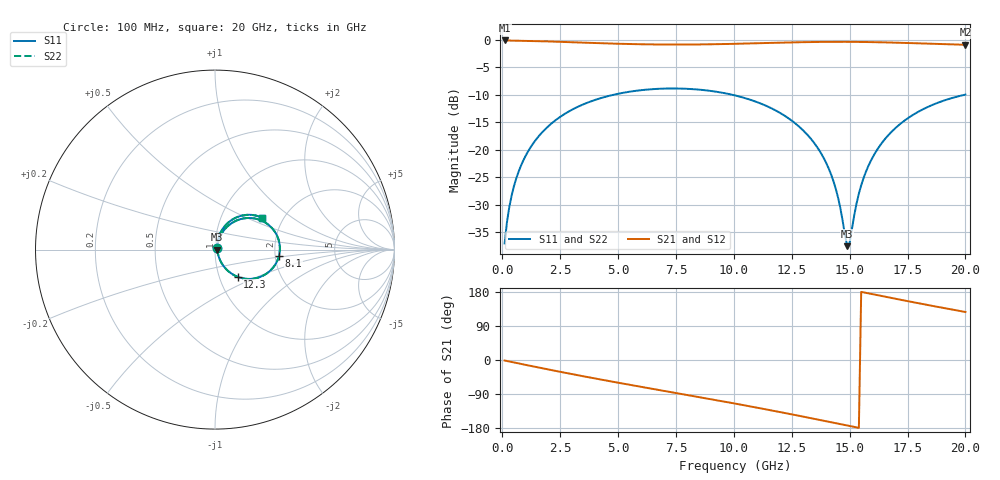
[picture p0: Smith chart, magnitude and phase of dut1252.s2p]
! Touchstone file exported from HFSS 2026.1.0
!  File:  C:/ffzhzh/LocalFiles/Ansys_Project_Files/temp_train_TSV_RDL_1252_1783325699_38704.aedt
!  Generated:  04:28:44 PM Jul  6, 2026
!  Design:  TSV_RDL
!  Project:  temp_train_TSV_RDL_1252_1783325699_38704
! Variables:
!  h_bsmrdl = 4.05um
!  h_ox = 20um
!  h_rdl = 5um
!  h_sub = 91.6um
!  h_tmrdl = 5.99um
!  h_tsv = 91.6um
!  h_via = 3um
!  l_bsmrdl = 522.69um
!  l_sub = 3785.73um
!  l_tmrdl = 413.27um
!  m_sub = 200um
!  pitch = 49.45um
!  r_tsv = 12.57um
!  s_tmrdl = 10um
!  w_bsmrdl = 28.66um
!  w_sub = 500um
!  w_tmrdl = 26.2um
!  x_tsv_center1 = 426.37um
!  x_tsv_center2 = 977.72um
!  x_tsv_center3 = 1417.19um
!  x_tsv_center4 = 1968.54um
!  x_tsv_center5 = 2408.01um
!  x_tsv_center6 = 2959.36um
# GHz S MA R 50.000000
! Terminal data exported
! Port[1] = TM_RDL1_1_T1
! Port[2] = TM_RDL5_1_T1
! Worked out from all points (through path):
!   200 points, 100 MHz to 20 GHz, reference 50 ohm
!   highest |S21| = -0.09 dB at 100 MHz (marker M1); lowest = -0.9 dB at 20 GHz (marker M2)
!   group delay of S21, straight-line fit = 32.1 ps
!   lowest |S11| = -37.6 dB at 14.9 GHz (marker M3), VSWR 1.03, Z = 51.3 - j0.122 ohm
!   |S11| at or under -10 dB: start of sweep to 4.788 GHz; 9.946 GHz to 19.95 GHz (10.01 GHz wide, 67 % of centre)
!   |S22| runs from -37.7 to -8.8 dB; largest |S21 - S12| = 3.3e-14
!   S11 on the Smith chart (normalised r, x): 100 MHz: 1.02, +0.02; 8.1 GHz: 2.10, -0.17; 12.3 GHz: 1.22, -0.39; 20 GHz: 1.57, +0.62
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0.1  0.01399 43.5  0.99 -1.3  0.99 -1.3  0.01399 43.5
! Gamma 0 0 0 0
! Port Impedance 50 0 50 0
0.3  0.02982 63.7  0.9883 -3.9  0.9883 -3.9  0.02982 63.7
0.5  0.04625 68.3  0.9868 -6.4  0.9868 -6.4  0.04625 68.3
1.1  0.09547 67.6  0.9815 -14.0  0.9815 -14.0  0.09547 67.6
2.1  0.1718 58.2  0.9686 -26.3  0.9686 -26.3  0.1718 58.2
3.5  0.2592 42.8  0.9459 -43.0  0.9459 -43.0  0.2592 42.8
5.1  0.3266 25.5  0.9228 -61.0  0.9228 -61.0  0.3266 25.5
6.8  0.3594 7.7  0.9094 -79.5  0.9094 -79.5  0.3594 7.7
8.1  0.3579 -5.8  0.909 -93.5  0.909 -93.5  0.3579 -5.8
10.1  0.3107 -26.7  0.9233 -115.5  0.9233 -115.5  0.3107 -26.8
12.3  0.1973 -50.2  0.9487 -141.0  0.9487 -141.0  0.1973 -50.3
13.4  0.1204 -60.8  0.9583 -154.3  0.9583 -154.3  0.1204 -60.9
14.3  0.05184 -63.3  0.962 -165.4  0.962 -165.4  0.05183 -63.5
14.6  0.02936 -55.1  0.9622 -169.2  0.9622 -169.2  0.0293 -55.5
14.9  0.01322 -5.1  0.9619 -172.9  0.9619 -172.9  0.01303 -5.5
15  0.01421 27.4  0.9617 -174.1  0.9617 -174.1  0.01401 27.5
15.3  0.0324 66.4  0.9606 -177.8  0.9606 -177.8  0.03228 66.7
15.6  0.05502 72.8  0.959 178.5  0.959 178.5  0.05494 73.0
16.1  0.09329 72.4  0.9552 172.3  0.9552 172.3  0.09322 72.5
16.7  0.1378 67.9  0.949 165.0  0.949 165.0  0.1377 68.0
18.1  0.2297 53.8  0.9302 148.3  0.9302 148.3  0.2297 53.9
20  0.3178 33.8  0.9042 126.7  0.9042 126.7  0.3178 33.8
